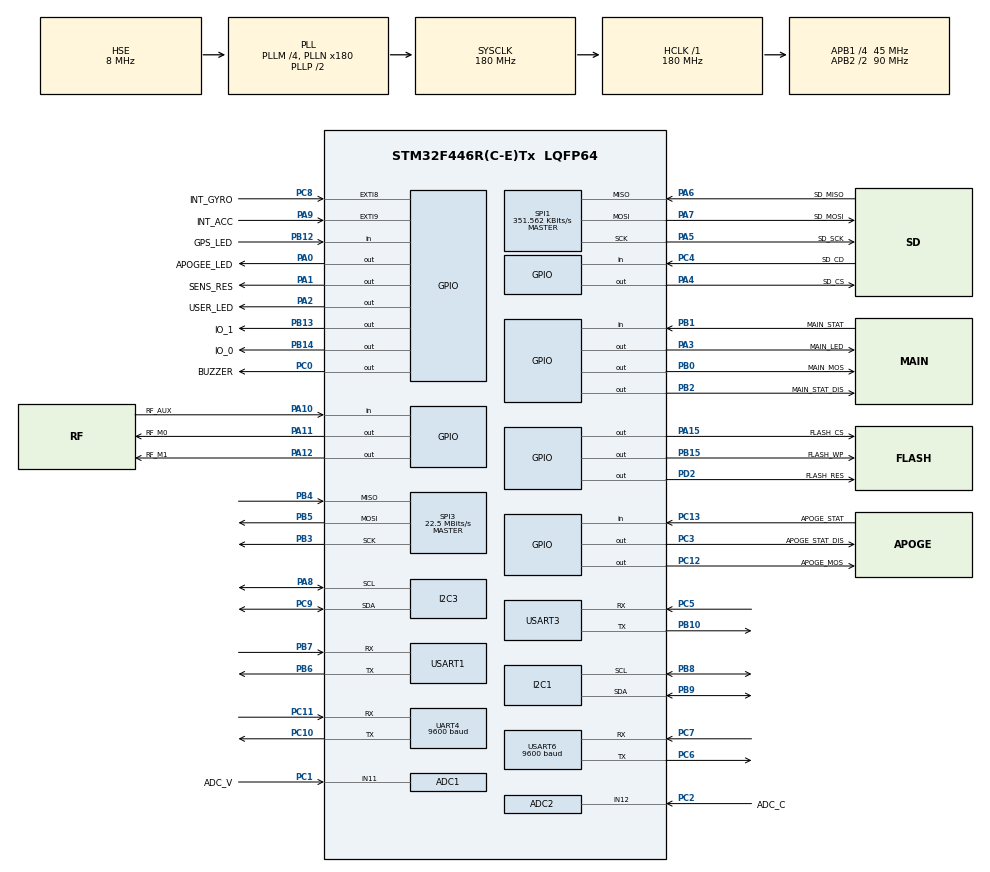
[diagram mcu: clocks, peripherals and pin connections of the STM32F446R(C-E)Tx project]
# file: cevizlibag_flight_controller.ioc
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ADC1.Channel-0\#ChannelRegularConversion=ADC_CHANNEL_11
ADC1.ClockPrescaler=ADC_CLOCK_SYNC_PCLK_DIV4
ADC1.NbrOfConversionFlag=1
ADC1.Rank-0\#ChannelRegularConversion=1
ADC1.SamplingTime-0\#ChannelRegularConversion=ADC_SAMPLETIME_3CYCLES
ADC1.master=1
ADC2.Channel-0\#ChannelRegularConversion=ADC_CHANNEL_12
ADC2.ClockPrescaler=ADC_CLOCK_SYNC_PCLK_DIV4
ADC2.NbrOfConversion=1
ADC2.NbrOfConversionFlag=1
ADC2.Rank-0\#ChannelRegularConversion=1
ADC2.SamplingTime-0\#ChannelRegularConversion=ADC_SAMPLETIME_3CYCLES
Dma.Request0=USART3_RX
Dma.Request1=USART6_RX
Dma.Request2=USART1_TX
Dma.Request3=USART3_TX
Dma.Request4=UART4_TX
Dma.UART4_TX.4.Direction=DMA_MEMORY_TO_PERIPH
Dma.UART4_TX.4.FIFOMode=DMA_FIFOMODE_DISABLE
Dma.UART4_TX.4.Instance=DMA1_Stream4
Dma.UART4_TX.4.MemDataAlignment=DMA_MDATAALIGN_BYTE
Dma.UART4_TX.4.MemInc=DMA_MINC_ENABLE
Dma.UART4_TX.4.Mode=DMA_NORMAL
Dma.UART4_TX.4.PeriphDataAlignment=DMA_PDATAALIGN_BYTE
Dma.UART4_TX.4.PeriphInc=DMA_PINC_DISABLE
Dma.UART4_TX.4.Priority=DMA_PRIORITY_LOW
Dma.USART1_TX.2.Direction=DMA_MEMORY_TO_PERIPH
Dma.USART1_TX.2.FIFOMode=DMA_FIFOMODE_DISABLE
Dma.USART1_TX.2.Instance=DMA2_Stream7
Dma.USART1_TX.2.MemDataAlignment=DMA_MDATAALIGN_BYTE
Dma.USART1_TX.2.MemInc=DMA_MINC_ENABLE
Dma.USART1_TX.2.Mode=DMA_NORMAL
Dma.USART1_TX.2.PeriphDataAlignment=DMA_PDATAALIGN_BYTE
Dma.USART1_TX.2.PeriphInc=DMA_PINC_DISABLE
Dma.USART1_TX.2.Priority=DMA_PRIORITY_LOW
Dma.USART3_RX.0.Direction=DMA_PERIPH_TO_MEMORY
Dma.USART3_RX.0.FIFOMode=DMA_FIFOMODE_DISABLE
Dma.USART3_RX.0.Instance=DMA1_Stream1
Dma.USART3_RX.0.MemDataAlignment=DMA_MDATAALIGN_BYTE
Dma.USART3_RX.0.MemInc=DMA_MINC_ENABLE
Dma.USART3_RX.0.Mode=DMA_NORMAL
Dma.USART3_RX.0.PeriphDataAlignment=DMA_PDATAALIGN_BYTE
Dma.USART3_RX.0.PeriphInc=DMA_PINC_DISABLE
Dma.USART3_RX.0.Priority=DMA_PRIORITY_LOW
Dma.USART3_TX.3.Direction=DMA_MEMORY_TO_PERIPH
Dma.USART3_TX.3.FIFOMode=DMA_FIFOMODE_DISABLE
Dma.USART3_TX.3.Instance=DMA1_Stream3
Dma.USART3_TX.3.MemDataAlignment=DMA_MDATAALIGN_BYTE
Dma.USART3_TX.3.MemInc=DMA_MINC_ENABLE
Dma.USART3_TX.3.Mode=DMA_NORMAL
Dma.USART3_TX.3.PeriphDataAlignment=DMA_PDATAALIGN_BYTE
Dma.USART3_TX.3.PeriphInc=DMA_PINC_DISABLE
Dma.USART3_TX.3.Priority=DMA_PRIORITY_LOW
Dma.USART6_RX.1.Direction=DMA_PERIPH_TO_MEMORY
Dma.USART6_RX.1.FIFOMode=DMA_FIFOMODE_DISABLE
Dma.USART6_RX.1.Instance=DMA2_Stream1
Dma.USART6_RX.1.MemDataAlignment=DMA_MDATAALIGN_BYTE
Dma.USART6_RX.1.MemInc=DMA_MINC_ENABLE
Dma.USART6_RX.1.Mode=DMA_NORMAL
Dma.USART6_RX.1.PeriphDataAlignment=DMA_PDATAALIGN_BYTE
Dma.USART6_RX.1.PeriphInc=DMA_PINC_DISABLE
Dma.USART6_RX.1.Priority=DMA_PRIORITY_LOW
Mcu.Family=STM32F4
Mcu.Name=STM32F446R(C-E)Tx
Mcu.Package=LQFP64
Mcu.UserConstants=TTL_HNDLR,huart1;RS232_HNDLR,huart3;SD_SPI_HNDLR,hspi1;FLASH_SPI_HNDLR,hspi3;TELEM_UART_HNDLR,huart4;GPS_UART_HNDLR,huart6;IMU_I2C_HNDLR,hi2c3;BAR_I2C_HNDLR,hi2c1;GYRO_IRQ,EXTI9_5_IRQn;ACC_IRQ,EXTI9_5_IRQn
NVIC.DMA1_Stream1_IRQn=true\:0\:0\:false\:false\:true\:false\:true\:true
NVIC.DMA1_Stream3_IRQn=true\:0\:0\:false\:false\:true\:false\:true\:true
NVIC.DMA1_Stream4_IRQn=true\:0\:0\:false\:false\:true\:false\:true\:true
NVIC.DMA2_Stream1_IRQn=true\:0\:0\:false\:false\:true\:false\:true\:true
NVIC.DMA2_Stream7_IRQn=true\:0\:0\:false\:false\:true\:false\:true\:true
NVIC.EXTI9_5_IRQn=true\:1\:0\:true\:false\:true\:true\:true\:true
NVIC.PriorityGroup=NVIC_PRIORITYGROUP_4
NVIC.TIM1_BRK_TIM9_IRQn=true\:2\:0\:true\:false\:true\:true\:true\:true
NVIC.TIM3_IRQn=true\:2\:0\:true\:false\:true\:true\:true\:true
NVIC.TIM4_IRQn=true\:2\:0\:true\:false\:true\:true\:true\:true
NVIC.TIM5_IRQn=true\:3\:0\:true\:false\:true\:true\:true\:true
NVIC.TIM6_DAC_IRQn=true\:4\:0\:true\:false\:true\:true\:true\:true
NVIC.TIM7_IRQn=true\:5\:0\:true\:false\:true\:true\:true\:true
NVIC.TIM8_UP_TIM13_IRQn=true\:8\:0\:true\:false\:true\:true\:true\:true
NVIC.UART4_IRQn=true\:9\:0\:true\:false\:true\:true\:true\:true
NVIC.USART1_IRQn=true\:0\:0\:false\:false\:true\:true\:true\:true
NVIC.USART3_IRQn=true\:0\:0\:true\:false\:true\:true\:true\:true
NVIC.USART6_IRQn=true\:2\:0\:true\:false\:true\:true\:true\:true
PA0-WKUP.GPIO_Label=APOGEE_LED
PA0-WKUP.PinState=GPIO_PIN_SET
PA0-WKUP.Signal=GPIO_Output
PA1.GPIO_Label=SENS_RES
PA1.Signal=GPIO_Output
PA10.GPIO_Label=RF_AUX
PA10.Signal=GPIO_Input
PA11.GPIO_Label=RF_M0
PA11.PinState=GPIO_PIN_SET
PA11.Signal=GPIO_Output
PA12.GPIO_Label=RF_M1
PA12.PinState=GPIO_PIN_SET
PA12.Signal=GPIO_Output
PA13.Mode=Serial_Wire
PA13.Signal=SYS_JTMS-SWDIO
PA14.Mode=Serial_Wire
PA14.Signal=SYS_JTCK-SWCLK
PA15.GPIO_Label=FLASH_CS
PA15.GPIO_Speed=GPIO_SPEED_FREQ_VERY_HIGH
PA15.PinState=GPIO_PIN_SET
PA15.Signal=GPIO_Output
PA2.GPIO_Label=USER_LED
PA2.Signal=GPIO_Output
PA3.GPIO_Label=MAIN_LED
PA3.PinState=GPIO_PIN_SET
PA3.Signal=GPIO_Output
PA4.GPIO_Label=SD_CS
PA4.GPIO_PuPd=GPIO_PULLUP
PA4.PinState=GPIO_PIN_SET
PA4.Signal=GPIO_Output
PA5.GPIO_Label=SD_SCK
PA5.GPIO_PuPd=GPIO_PULLUP
PA5.Mode=Full_Duplex_Master
PA5.Signal=SPI1_SCK
PA6.GPIO_Label=SD_MISO
PA6.GPIO_PuPd=GPIO_PULLUP
PA6.Mode=Full_Duplex_Master
PA6.Signal=SPI1_MISO
PA7.GPIO_Label=SD_MOSI
PA7.GPIO_PuPd=GPIO_PULLUP
PA7.Mode=Full_Duplex_Master
PA7.Signal=SPI1_MOSI
PA8.Mode=I2C
PA8.Signal=I2C3_SCL
PA9.GPIO_Label=INT_ACC
PA9.Signal=GPXTI9
PB0.GPIO_Label=MAIN_MOS
PB0.Signal=GPIO_Output
PB1.GPIO_Label=MAIN_STAT
PB1.Signal=GPIO_Input
PB10.Mode=Asynchronous
PB10.Signal=USART3_TX
PB12.GPIO_Label=GPS_LED
PB12.Signal=GPIO_Input
PB13.GPIO_Label=IO_1
PB13.Signal=GPIO_Output
PB14.GPIO_Label=IO_0
PB14.Signal=GPIO_Output
PB15.GPIO_Label=FLASH_WP
PB15.GPIO_PuPd=GPIO_NOPULL
PB15.PinState=GPIO_PIN_SET
PB15.Signal=GPIO_Output
PB2.GPIO_Label=MAIN_STAT_DIS
PB2.Signal=GPIO_Output
PB3.Mode=Full_Duplex_Master
PB3.Signal=SPI3_SCK
PB4.Mode=Full_Duplex_Master
PB4.Signal=SPI3_MISO
PB5.Mode=Full_Duplex_Master
PB5.Signal=SPI3_MOSI
PB6.Mode=Asynchronous
PB6.Signal=USART1_TX
PB7.Mode=Asynchronous
PB7.Signal=USART1_RX
PB8.Mode=I2C
PB8.Signal=I2C1_SCL
PB9.Mode=I2C
PB9.Signal=I2C1_SDA
PC0.GPIO_Label=BUZZER
PC0.Signal=GPIO_Output
PC1.GPIO_Label=ADC_V
PC1.Signal=ADCx_IN11
PC10.Mode=Asynchronous
PC10.Signal=UART4_TX
PC11.Mode=Asynchronous
PC11.Signal=UART4_RX
PC12.GPIO_Label=APOGE_MOS
PC12.Signal=GPIO_Output
PC13.GPIO_Label=APOGE_STAT
PC13.Signal=GPIO_Input
PC14-OSC32_IN.Mode=LSE-External-Oscillator
PC14-OSC32_IN.Signal=RCC_OSC32_IN
PC15-OSC32_OUT.Mode=LSE-External-Oscillator
PC15-OSC32_OUT.Signal=RCC_OSC32_OUT
PC2.GPIO_Label=ADC_C
PC2.Signal=ADCx_IN12
PC3.GPIO_Label=APOGE_STAT_DIS
PC3.Signal=GPIO_Output
PC4.GPIO_Label=SD_CD
PC4.Signal=GPIO_Input
PC5.Mode=Asynchronous
PC5.Signal=USART3_RX
PC6.Mode=Asynchronous
PC6.Signal=USART6_TX
PC7.Mode=Asynchronous
PC7.Signal=USART6_RX
PC8.GPIO_Label=INT_GYRO
PC8.Signal=GPXTI8
PC9.Mode=I2C
PC9.Signal=I2C3_SDA
PD2.GPIO_Label=FLASH_RES
PD2.GPIO_PuPd=GPIO_PULLUP
PD2.PinState=GPIO_PIN_SET
PD2.Signal=GPIO_Output
PH0-OSC_IN.Mode=HSE-External-Oscillator
PH0-OSC_IN.Signal=RCC_OSC_IN
PH1-OSC_OUT.Mode=HSE-External-Oscillator
PH1-OSC_OUT.Signal=RCC_OSC_OUT
ProjectManager.HeapSize=0x200
ProjectManager.StackSize=0x400
ProjectManager.TargetToolchain=STM32CubeIDE
RCC.AHBFreq_Value=180000000
RCC.APB1CLKDivider=RCC_HCLK_DIV4
RCC.APB1Freq_Value=45000000
RCC.APB1TimFreq_Value=90000000
RCC.APB2CLKDivider=RCC_HCLK_DIV2
RCC.APB2Freq_Value=90000000
RCC.APB2TimFreq_Value=180000000
RCC.CortexFreq_Value=180000000
RCC.HCLKFreq_Value=180000000
RCC.HSE_VALUE=8000000
RCC.PLLM=4
RCC.PLLN=180
RCC.PLLSourceVirtual=RCC_PLLSOURCE_HSE
RCC.RCC_RTC_Clock_SourceVirtual=RCC_RTCCLKSOURCE_LSE
RCC.SYSCLKFreq_VALUE=180000000
RCC.SYSCLKSource=RCC_SYSCLKSOURCE_PLLCLK
RCC.USBFreq_Value=180000000
RCC.VCOOutputFreq_Value=360000000
SH.ADCx_IN11.0=ADC1_IN11,IN11
SH.ADCx_IN12.0=ADC2_IN12,IN12
SPI1.BaudRatePrescaler=SPI_BAUDRATEPRESCALER_256
SPI1.CalculateBaudRate=351.562 KBits/s
SPI1.Direction=SPI_DIRECTION_2LINES
SPI1.Mode=SPI_MODE_MASTER
SPI1.VirtualType=VM_MASTER
SPI3.BaudRatePrescaler=SPI_BAUDRATEPRESCALER_2
SPI3.CLKPhase=SPI_PHASE_1EDGE
SPI3.CLKPolarity=SPI_POLARITY_LOW
SPI3.CalculateBaudRate=22.5 MBits/s
SPI3.Direction=SPI_DIRECTION_2LINES
SPI3.Mode=SPI_MODE_MASTER
SPI3.VirtualType=VM_MASTER
TIM3.Period=9999
TIM3.Prescaler=8999
TIM4.Period=999
TIM4.Prescaler=8999
TIM5.Period=99
TIM5.Prescaler=8999
TIM6.Period=9
TIM6.Prescaler=8999
TIM7.Period=99
TIM7.Prescaler=8999
TIM8.Period=1999
TIM8.Prescaler=17999
TIM9.AutoReloadPreload=TIM_AUTORELOAD_PRELOAD_ENABLE
TIM9.Period=9999
TIM9.Prescaler=17999
UART4.BaudRate=9600
UART4.VirtualMode=Asynchronous
USART1.VirtualMode=VM_ASYNC
USART3.VirtualMode=VM_ASYNC
USART6.BaudRate=9600
USART6.VirtualMode=VM_ASYNC
VP_RTC_VS_RTC_Activate.Mode=RTC_Enabled
VP_TIM3_VS_ClockSourceINT.Mode=Internal
VP_TIM4_VS_ClockSourceINT.Mode=Internal
VP_TIM5_VS_ClockSourceINT.Mode=Internal
VP_TIM6_VS_ClockSourceINT.Mode=Enable_Timer
VP_TIM7_VS_ClockSourceINT.Mode=Enable_Timer
VP_TIM8_VS_ClockSourceINT.Mode=Internal
VP_TIM9_VS_ClockSourceINT.Mode=Internal
board=custom

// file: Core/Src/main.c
/* USER CODE BEGIN Header */
/**
  ******************************************************************************
  * @file           : main.c
  * @brief          : Main program body
  ******************************************************************************
  * @attention
  *
  * Copyright (c) 2025 STMicroelectronics.
  * All rights reserved.
  *
  * This software is licensed under terms that can be found in the LICENSE file
  * in the root directory of this software component.
  * If no LICENSE file comes with this software, it is provided AS-IS.
  *
  ******************************************************************************
  */
/* USER CODE END Header */
#include "main.h"
#include "adc.h"
#include "dma.h"
#include "i2c.h"
#include "rtc.h"
#include "spi.h"
#include "tim.h"
#include "usart.h"
#include "gpio.h"

/* USER CODE BEGIN Includes */
#include "bme280.h"
#include "bmi088.h"
#include "ukb_test.h"
#include "algorithms.h"
#include "queternion.h"
#include "dataPacking.h"
#include "usr_gnss_l86_parser.h"
#include "e22_lib.h"
#include "dwt_profiler.h"
#include "data_logger.h"
#include "w25qxx.h"
#include "filters.h"
#include "z_flash_W25QXXX.h"
/* USER CODE END Includes */

/* USER CODE BEGIN PTD */
typedef struct bckp_sram_datas
{
	bme_parameters_t	bme_params;
	bmi088_offsets_t	bmi_offsets;
	float q[4];
	uint32_t logger_counter;
}bckp_sram_datas_t;

/* USER CODE END PTD */

/* USER CODE BEGIN PV */
bckp_sram_datas_t* const backup_datas = (bckp_sram_datas_t*) BKPSRAM_BASE;
static bme280_struct_t 	bme_sensor_s;
static bmi088_struct_t	bmi_imu_s;
static e22_conf_struct_t lora_1;
static flight_states_e rocket_status;

working_mode_e working_mode = MODE_NORMAL;
power_t power_s;
UKB_test_t test_datas;
flight_data_t rocket_flight_datas;
S_GPS_L86_DATA gps_s;
BaroAccelFilter filter_1;

extern float euler[3];
extern uint8_t dma_rx_buf[RX_BUFFER_LEN + 10];
extern uint8_t *gps_buf;
uint8_t datas_packed[36];

uint32_t main_mos_counter = 0;
uint32_t apoge_mos_counter = 0;
uint32_t last_vel_measure_time = 0;

uint8_t *packed_datas_p;
uint8_t str[200];
uint8_t is_1000ms = 0;
uint8_t is_200ms = 0;
uint8_t is_100ms = 0;
uint8_t is_10ms = 0;
uint8_t is_1ms = 0;
uint8_t is_telem_timer_ok = 0;
uint8_t is_power_1s = 0;
uint8_t last_mode = MODE_NORMAL;
uint8_t is_dma_idle = 0;
uint8_t	is_new_test_data = 0;
uint8_t is_zeroed = 0;
uint8_t beep_counter = 0;

int counter = 0;

/* USER CODE END PV */

void SystemClock_Config(void);
/* USER CODE BEGIN PFP */
uint8_t bme280_begin(void);
uint8_t bmi088_begin(void);
void bmi_callback(bmi088_struct_t *BMI);
void lora_init(void);
void calc_power(power_t* pow);
void reset_fligth_datas();
/* USER CODE END PFP */

int main(void)
{

  /* MCU Configuration--------------------------------------------------------*/

  /* Reset of all peripherals, Initializes the Flash interface and the Systick. */
  HAL_Init();

  /* Configure the system clock */
  SystemClock_Config();

  /* Initialize all configured peripherals */
  MX_GPIO_Init();
  MX_DMA_Init();
  MX_I2C1_Init();
  MX_I2C3_Init();
  MX_SPI1_Init();
  MX_SPI3_Init();
  MX_UART4_Init();
  MX_USART1_UART_Init();
  MX_USART3_UART_Init();
  MX_USART6_UART_Init();
  MX_RTC_Init();
  MX_TIM3_Init();
  MX_TIM4_Init();
  MX_TIM5_Init();
  MX_TIM6_Init();
  MX_TIM9_Init();
  MX_ADC1_Init();
  MX_ADC2_Init();
  MX_TIM7_Init();
  MX_TIM8_Init();
  /* USER CODE BEGIN 2 */

#ifdef CALC_TIME
  dwt_profiler_init();
#endif

  HAL_PWR_EnableBkUpAccess();
  RCC->AHB1ENR |= RCC_AHB1ENR_BKPSRAMEN;
  HAL_PWR_EnableBkUpReg();

  HAL_GPIO_WritePin(SENS_RES_GPIO_Port, SENS_RES_Pin, GPIO_PIN_SET);
  HAL_Delay(50);
  HAL_GPIO_WritePin(SENS_RES_GPIO_Port, SENS_RES_Pin, GPIO_PIN_RESET);
  HAL_Delay(50);

  for(int i = 0; i < 16; i++)
  {
	  HAL_GPIO_TogglePin(BUZZER_GPIO_Port, BUZZER_Pin);
	  HAL_Delay(50);
  }

  uint8_t bme_ret = bme280_begin();
  if(bme_ret)
  {
	  serial_println("bme sensor fail", &TTL_HNDLR);
  }
  else
  {
	  //serial_println("bme sensor success", &TTL_HNDLR);
  }

  bme280_config(&bme_sensor_s);

  uint8_t bmi_ret = bmi088_begin();
  if(bmi_ret)
  {
	  serial_println("bmi fail", &TTL_HNDLR);
      if((bmi_ret & 0x01) == 0x01)
      {
        sprintf((char*)str, "error in accel");
        serial_println((char*) str, &TTL_HNDLR);
      }
      if((bmi_ret & 0x02) == 0x02)
      {
        sprintf((char*)str, "error in gyro");
        serial_println((char*) str, &TTL_HNDLR);
      }
  }
  else
  {
	  //serial_println("bmi success", &TTL_HNDLR);
  }

    bmi088_config(&bmi_imu_s);
    get_offset(&bmi_imu_s);

    ukb_test_init(&test_datas);
    quaternon_init(backup_datas->q);
    bmi088_update(&bmi_imu_s);
    getInitialQuaternion(bmi_imu_s.datas.acc_x, bmi_imu_s.datas.acc_y, bmi_imu_s.datas.acc_z);

    // GNSS config baud rate 57600 with PMTK command.
    serial_println("$PMTK251,57600*2C", &GPS_UART_HNDLR);	// GNSS baud set 57600
    HAL_UART_DeInit(&GPS_UART_HNDLR);
    GPS_UART_HNDLR.Init.BaudRate = 57600;
    HAL_UART_Init(&GPS_UART_HNDLR);
    UsrGpsL86Init(&GPS_UART_HNDLR);
    //VIEW_GPS()											// Read and write to TTL raw GNSS raw value.

    // Filter config.
    //baf_init(&filter_1, -bmi_imu_s.datas.acc_y, 0.3, 0.1, (float)bme_sensor_s.datas.time_of_update);
    baf_init(&filter_1, -bmi_imu_s.datas.acc_y, 0.3, 0.2, (float)HAL_GetTick()-1);

    // Lora module config.
    lora_init();
    data_logger_init();

#ifdef ERASE_FLASH_CHIP
    serial_println("silmeye baslandi", &TTL_HNDLR);
    //W25qxx_EraseChip();
    Flash_ChipErase();
    serial_println("chip silindi", &TTL_HNDLR);

#endif

    // Config phase finished beep.
    beep(1000);

    // Start timer interrupts.
    HAL_TIM_Base_Start_IT(&htim3);
    HAL_TIM_Base_Start_IT(&htim4);
    HAL_TIM_Base_Start_IT(&htim5);
    HAL_TIM_Base_Start_IT(&htim6);
    HAL_TIM_Base_Start_IT(&htim7);
    HAL_TIM_Base_Start_IT(&htim9);
    HAL_TIM_Base_Start_IT(&htim8);

    // Start receiving DMA form RS232 UART.
    __HAL_UART_ENABLE_IT(&RS232_HNDLR, UART_IT_IDLE);
    HAL_UART_Receive_DMA(&RS232_HNDLR, dma_rx_buf, RX_BUFFER_LEN + 6);
    //TIM9->ARR = 10000;
  /* USER CODE END 2 */

  /* Infinite loop */
  while (1)
  {

    /* USER CODE BEGIN 3 */
#ifdef CALC_TIME
	  PROFILE_START(PROF_MAIN_LOOP);
#endif

	  if(get_test_mode() != last_mode)
	  {
		  working_mode = get_test_mode();
		  last_mode = get_test_mode();
		  reset_algorithm_status(&rocket_flight_datas);
		  rocket_status = STAT_ROCKET_READY;
		  reset_test_datas();
		  reset_fligth_datas();
		  switch(working_mode)
		  {
		  case MODE_NORMAL:
			  baf_init(&filter_1, -bmi_imu_s.datas.acc_y, 0.3, 0.2, (float)HAL_GetTick() - 1);
			  break;
		  case MODE_SUT_TEST:
			  baf_init(&filter_1, 0, 0.3, 0.2, (float)HAL_GetTick() - 1);
			  break;
		  case MODE_SIT_TEST:
			  break;
		  }
		  //sprintf((char*)str,"mode = %d", working_mode);
		  //serial_println((char*)str, &TTL_HNDLR);
	  }

	  if(is_1000ms)	// This condition works at 1Hz.
	  {
		  Usr_GpsL86GetValues(&gps_s, &GPS_UART_HNDLR);
		  is_power_1s = 1;
		  is_1000ms = 0;
	  }
	  if(is_200ms)
	  {
		  if(working_mode == MODE_NORMAL)
		  {

		  }

		  is_200ms = 0;
	  }
	  if(is_100ms)	// This condition works at 5Hz.
	  {
		  //sprintf((char*)str,"h=%f \t v=%f \t time=%f \t abia=%f \t beta=%f \t alpha=%f", filter_1.h, filter_1.v, filter_1.dt, filter_1.abias, filter_1.beta, filter_1.alpha);
		  ///printf((char*)str,"h=%f \t v=%f \t time=%f \t abia=%f",  rocket_flight_datas.altitude ,  rocket_flight_datas.velocity, filter_1.dt, filter_1.abias);
		  //sprintf((char*)str, "accel_x=%f \t accel_y=%f \t accelz=%f", bmi_imu_s.datas.acc_x, bmi_imu_s.datas.acc_y, bmi_imu_s.datas.acc_z);
		  //serial_println((char*)str, &TTL_HNDLR);

		  switch(get_test_mode())
		  {

		  case MODE_NORMAL:
			  rocket_flight_datas.velocity		= bme_sensor_s.datas.velocity;
			  rocket_flight_datas.alt_sea_level = bme_sensor_s.datas.height;
			  rocket_flight_datas.altitude 		= bme_sensor_s.datas.altitude;
			  rocket_flight_datas.accel_x 		= bmi_imu_s.datas.acc_x / 1000;
			  rocket_flight_datas.accel_y 		= bmi_imu_s.datas.acc_z / 1000;
			  rocket_flight_datas.accel_z 		= -bmi_imu_s.datas.acc_y / 1000;
			  rocket_flight_datas.angle_x 		= euler[0];
			  rocket_flight_datas.angle_y 		= euler[1];
			  rocket_flight_datas.angle_z 		= euler[2];
			  rocket_flight_datas.abs_angle			= quaternionToTheta();
			  rocket_flight_datas.data_taken_time 	= bme_sensor_s.datas.time_of_update;

			  baf_step(&filter_1, rocket_flight_datas.altitude, rocket_flight_datas.accel_z * 1000, rocket_flight_datas.data_taken_time);
			  rocket_flight_datas.altitude = filter_1.h;
			  rocket_flight_datas.velocity = filter_1.v;
			  bme_sensor_s.datas.velocity = filter_1.v;
			  rocket_flight_datas.is_new_data = 1;
#ifdef CALC_TIME
			  PROFILE_START(PROF_PACKET_SEND);
#endif
			  packed_datas_p = packDatas(&bmi_imu_s, &bme_sensor_s, &gps_s, &power_s, rocket_status, &rocket_flight_datas);
			  //send_datas(&TTL_HNDLR, packed_datas_p, 64);	// Sends the packets via uart bridge to GCS.
			  //log_datas(gps_s.altitudeInMeter, gps_s.lat, gps_s.lon, gps_s.timeDateBuf, bme_sensor_s.datas.altitude, bme_sensor_s.datas.temperature, bme_sensor_s.datas.humidity);
			  //send_datas(&RS232_HNDLR, packed_datas_p, 64);
			  if(rocket_status > STAT_ROCKET_READY && rocket_status < STAT_TOUCH_DOWN && backup_datas->logger_counter < 130000)
			  {
				  log_datas(backup_datas->logger_counter++, HAL_GetTick(), filter_1.h, bme_sensor_s.datas.altitude, filter_1.v, bme_sensor_s.datas.pressure, bme_sensor_s.datas.temperature,
				      			  bme_sensor_s.datas.humidity, bmi_imu_s.datas.acc_x, bmi_imu_s.datas.acc_y, bmi_imu_s.datas.acc_z,
				      			  bmi_imu_s.datas.gyro_x, bmi_imu_s.datas.gyro_y, bmi_imu_s.datas.gyro_z, euler[0], euler[1], euler[2],
				      			  backup_datas->q[0], backup_datas->q[1], backup_datas->q[2], backup_datas->q[3], gps_s.lat, gps_s.lon,
				      			  gps_s.altitudeInMeter, gps_s.timeDateBuf, rocket_status, power_s.voltage, power_s.wattage_calced, gps_s.satInUse);
			  }
#ifdef CALC_TIME
			  PROFILE_END(PROF_PACKET_SEND);
#endif
			  break;

		  case MODE_SIT_TEST:
			  test_datas.altitude	= rocket_flight_datas.alt_sea_level;
			  test_datas.pressure 	= bme_sensor_s.datas.pressure;
			  test_datas.accel_x 	= rocket_flight_datas.accel_x * TO_SI;
			  test_datas.accel_y 	= rocket_flight_datas.accel_z * TO_SI;
			  test_datas.accel_z 	= rocket_flight_datas.accel_y * TO_SI;
			  test_datas.angle_x 	= rocket_flight_datas.angle_x;	//bmi_imu_s.datas.gyro_x_angle;
			  test_datas.angle_y 	= rocket_flight_datas.angle_y;
			  test_datas.angle_z 	= rocket_flight_datas.angle_z; //bmi_imu_s.datas.gyro_z_angle;

			  pack_datas_for_test(datas_packed, &test_datas);
			  HAL_UART_Transmit_DMA(&RS232_HNDLR, datas_packed, 36);
			  HAL_UART_Transmit_DMA(&TTL_HNDLR, datas_packed, 36);
			  break;

		  case MODE_SUT_TEST:

			  break;

		  }
		  is_100ms = 0;
	  }

	  if(is_dma_idle)	// sut test
	  {
		  process_received_datas(dma_rx_buf);
		  HAL_UART_Receive_DMA(&RS232_HNDLR, dma_rx_buf, RX_BUFFER_LEN + 6);

		  if(working_mode == MODE_SUT_TEST)
		  {
			  //rocket_flight_datas.altitude			= test_datas.altitude;
			  rocket_flight_datas.accel_x 			= test_datas.accel_x;
			  rocket_flight_datas.accel_y 			= test_datas.accel_y;
			  rocket_flight_datas.accel_z 			= test_datas.accel_z;
			  rocket_flight_datas.angle_x 			= test_datas.angle_x;
			  rocket_flight_datas.angle_y 			= test_datas.angle_y;
			  rocket_flight_datas.angle_z 			= test_datas.angle_z;
			  rocket_flight_datas.data_taken_time 	= test_datas.data_taken_time;
			  //sprintf((char*)str,">velocity:%f", rocket_flight_datas.velocity);
			  //serial_println((char*)str, &TTL_HNDLR);
			  //sprintf((char*)str,"test:alt = %f, acx=%f  acy=%f  acz=%f angx=%f angy=%f angz=%f", test_datas.altitude, rocket_flight_datas.accel_x,  rocket_flight_datas.accel_y , rocket_flight_datas.accel_z, test_datas.angle_x, test_datas.angle_y, test_datas.angle_z);
			  //serial_println((char*)str, &TTL_HNDLR);

			  baf_step(&filter_1, test_datas.altitude, test_datas.accel_z,  test_datas.data_taken_time);
			  rocket_flight_datas.altitude = filter_1.h;
			  rocket_flight_datas.velocity = filter_1.v;

			  sprintf((char*)str,"%f,%f,%f,%f,\n\r", filter_1.h, filter_1.v, test_datas.altitude, test_datas.accel_z/1000);
			  //sprintf((char*)str,"%f,%f,%f,%f,%f,%f,%f\n\r", test_datas.accel_x, test_datas.accel_y, test_datas.accel_z, test_datas.angle_x, test_datas.angle_y, test_datas.angle_z, test_datas.altitude);
			  //serial_println((char*)str, &TTL_HNDLR);

			  ukb_test_stat_update(rocket_status );
			  rocket_flight_datas.is_new_data = 1;
		  }
		  is_dma_idle = 0;
	  }

	  if(is_10ms)// This condition works at 100Hz.
	  {
#ifdef CALC_TIME
		  PROFILE_START(PROF_BME280_UPDATE);
#endif

		  bme280_update(&bme_sensor_s);	// 100Hz call is enough for baro sensor.

#ifdef CALC_TIME
		  PROFILE_END(PROF_BME280_UPDATE);
#endif

		  if(working_mode == MODE_SIT_TEST)
		  {
			  rocket_flight_datas.velocity		= bme_sensor_s.datas.velocity;
			  rocket_flight_datas.alt_sea_level = bme_sensor_s.datas.height;
			  rocket_flight_datas.altitude 		= bme_sensor_s.datas.altitude;
			  rocket_flight_datas.accel_x 		= bmi_imu_s.datas.acc_x;
			  rocket_flight_datas.accel_y 		= bmi_imu_s.datas.acc_y;
			  rocket_flight_datas.accel_z 		= bmi_imu_s.datas.acc_z;
			  rocket_flight_datas.angle_x 		= euler[0];
			  rocket_flight_datas.angle_y 		= euler[1];
			  rocket_flight_datas.angle_z 		= euler[2];
		  }
		  is_10ms = 0;
	  }
	  if(is_1ms)	// This condition works at 1kHz.
	  {
		  if(rocket_status > STAT_ROCKET_READY && rocket_status < STAT_P1_OK_P2_NO)
		  {
			  TIM9->ARR = 2499;
		  }

		  calc_power(&power_s);
		  if(working_mode == MODE_NORMAL || working_mode == MODE_SUT_TEST)
		  {
			  rocket_status = algorithm_update(&rocket_flight_datas, working_mode);
		  }
		  is_1ms = 0;
	  }
	  if(is_telem_timer_ok)
	  {
		if(power_s.voltage > LOW_BAT)
		{
		  e22_chMode_transmit(&lora_1);
		  send_datas(&TELEM_UART_HNDLR, packed_datas_p, 64);
		}
		else
		{
		  e22_chMode_sleep(&lora_1);
		}
		is_telem_timer_ok = 0;
	  }
#ifdef CALC_TIME
	  PROFILE_START(PROF_BMI088_UPDATE);
#endif

	  bmi088_update(&bmi_imu_s);	// IMU sensor uses interrupts so it can be called always.

#ifdef CALC_TIME
	  PROFILE_END(PROF_BMI088_UPDATE);
#endif

#ifdef CALC_TIME
	  PROFILE_END(PROF_MAIN_LOOP);
#endif

#ifdef CALC_TIME
	  //dwt_profiler_print_results();
	  dwt_profiler_print_compact();
#endif
	 }
  /* USER CODE END 3 */
}

void SystemClock_Config(void)
{
  RCC_OscInitTypeDef RCC_OscInitStruct = {0};
  RCC_ClkInitTypeDef RCC_ClkInitStruct = {0};

  /** Configure the main internal regulator output voltage
  */
  __HAL_RCC_PWR_CLK_ENABLE();
  __HAL_PWR_VOLTAGESCALING_CONFIG(PWR_REGULATOR_VOLTAGE_SCALE1);

  /** Initializes the RCC Oscillators according to the specified parameters
  * in the RCC_OscInitTypeDef structure.
  */
  RCC_OscInitStruct.OscillatorType = RCC_OSCILLATORTYPE_HSE|RCC_OSCILLATORTYPE_LSE;
  RCC_OscInitStruct.HSEState = RCC_HSE_ON;
  RCC_OscInitStruct.LSEState = RCC_LSE_ON;
  RCC_OscInitStruct.PLL.PLLState = RCC_PLL_ON;
  RCC_OscInitStruct.PLL.PLLSource = RCC_PLLSOURCE_HSE;
  RCC_OscInitStruct.PLL.PLLM = 4;
  RCC_OscInitStruct.PLL.PLLN = 180;
  RCC_OscInitStruct.PLL.PLLP = RCC_PLLP_DIV2;
  RCC_OscInitStruct.PLL.PLLQ = 2;
  RCC_OscInitStruct.PLL.PLLR = 2;
  if (HAL_RCC_OscConfig(&RCC_OscInitStruct) != HAL_OK)
  {
    Error_Handler();
  }

  /** Activate the Over-Drive mode
  */
  if (HAL_PWREx_EnableOverDrive() != HAL_OK)
  {
    Error_Handler();
  }

  /** Initializes the CPU, AHB and APB buses clocks
  */
  RCC_ClkInitStruct.ClockType = RCC_CLOCKTYPE_HCLK|RCC_CLOCKTYPE_SYSCLK
                              |RCC_CLOCKTYPE_PCLK1|RCC_CLOCKTYPE_PCLK2;
  RCC_ClkInitStruct.SYSCLKSource = RCC_SYSCLKSOURCE_PLLCLK;
  RCC_ClkInitStruct.AHBCLKDivider = RCC_SYSCLK_DIV1;
  RCC_ClkInitStruct.APB1CLKDivider = RCC_HCLK_DIV4;
  RCC_ClkInitStruct.APB2CLKDivider = RCC_HCLK_DIV2;

  if (HAL_RCC_ClockConfig(&RCC_ClkInitStruct, FLASH_LATENCY_5) != HAL_OK)
  {
    Error_Handler();
  }
}

/* USER CODE BEGIN 4 */
void lora_init(void)
{
	lora_1.baud_rate 		= 	E22_BAUD_RATE_115200;
	lora_1.parity_bit		=	E22_PARITY_8N1;
	lora_1.air_rate			=	E22_AIR_DATA_RATE_38400;
	lora_1.packet_size		=	E22_PACKET_SIZE_64;
	lora_1.rssi_noise		=	E22_RSSI_NOISE_DISABLE;
	lora_1.power			=	E22_TRANSMITTING_POWER_22;
	lora_1.rssi_enable		=	E22_ENABLE_RSSI_DISABLE;
	lora_1.mode				= 	E22_TRANSMISSION_MODE_TRANSPARENT;
	lora_1.repeater_func	=	E22_REPEATER_FUNC_DISABLE;
	lora_1.lbt				=	E22_LBT_DISABLE;
	lora_1.wor				=	E22_WOR_RECEIVER;
	lora_1.wor_cycle		=	E22_WOR_CYCLE_1000;
	lora_1.channel			=	ROCKET_TELEM_FREQ;

	lora_1.pins.m0_pin = RF_M0_Pin;
	lora_1.pins.m0_pin_port = RF_M0_GPIO_Port;
	lora_1.pins.m1_pin = RF_M1_Pin;
	lora_1.pins.m1_pin_port = RF_M1_GPIO_Port;

	e22_init(&lora_1, &TELEM_UART_HNDLR);

	HAL_UART_DeInit(&TELEM_UART_HNDLR);
	TELEM_UART_HNDLR.Init.BaudRate = 115200;
	HAL_UART_Init(&TELEM_UART_HNDLR);
}

uint8_t bme280_begin()
{
	bme_sensor_s.device_config.filter = BME280_FILTER_OFF;
	bme_sensor_s.device_config.mode = BME280_MODE_NORMAL;
	bme_sensor_s.device_config.over_sampling = BME280_OS_8;
	bme_sensor_s.device_config.period = BME280_PERIOD_05;
	bme_sensor_s.device_config.BME_I2C = &BAR_I2C_HNDLR;
	bme_sensor_s.parameters = &backup_datas->bme_params; //if no backup data, write NULL
	return bme280_init(&bme_sensor_s);
}

void bmi_callback(bmi088_struct_t *BMI)
{

	if(is_zeroed == 1)
	{
		updateQuaternion(-BMI->datas.gyro_z * M_PI / 180.0, BMI->datas.gyro_x * M_PI / 180.0, -BMI->datas.gyro_y * M_PI / 180.0, BMI->datas.delta_time);
	}
	else
	{
		MahonyAHRSupdateIMU(-BMI->datas.gyro_z * M_PI / 180.0, BMI->datas.gyro_x * M_PI / 180.0, -BMI->datas.gyro_y * M_PI / 180.0, -BMI->datas.acc_z * TO_SI, BMI->datas.acc_x * TO_SI, -BMI->datas.acc_y * TO_SI, BMI->datas.delta_time);
		if(rocket_status > STAT_ROCKET_READY)
		{
			is_zeroed = 1;
			quaternionSet_zero();
		}
	}
		quaternionToEuler();
}

uint8_t bmi088_begin(void)
{
	//Acc config
	bmi_imu_s.device_config.acc_bandwith = ACC_BWP_OSR4;
	bmi_imu_s.device_config.acc_outputDateRate = ACC_ODR_200;
	bmi_imu_s.device_config.acc_powerMode = ACC_PWR_SAVE_ACTIVE;
	bmi_imu_s.device_config.acc_range = ACC_RANGE_24G;

	// Gyro config
	bmi_imu_s.device_config.gyro_bandWidth = GYRO_BW_116;
	bmi_imu_s.device_config.gyro_range = GYRO_RANGE_2000;
	bmi_imu_s.device_config.gyro_powerMode = GYRO_LPM_NORMAL;

	//Device config
	bmi_imu_s.device_config.acc_IRQ = ACC_IRQ;
	bmi_imu_s.device_config.gyro_IRQ = GYRO_IRQ;
	bmi_imu_s.device_config.BMI_I2c = &IMU_I2C_HNDLR;
	bmi_imu_s.device_config.offsets = &backup_datas->bmi_offsets;	//Offset datas stored in backup sram for saving them unwanted reset.
	bmi_imu_s.IMU_callback = bmi_callback;
	return	bmi088_init(&bmi_imu_s);
}

void serial_println(char* str, UART_HandleTypeDef *huart_disp)
{
	HAL_UART_Transmit_DMA(huart_disp, (uint8_t*)str, strlen(str));
	HAL_UART_Transmit_DMA(huart_disp, (uint8_t*)"\r\n", 2);
}

void HAL_GPIO_EXTI_Callback(uint16_t GPIO_Pin)
{
	if(GPIO_Pin == INT_ACC_Pin)
	{
		bmi088_set_accel_INT(&bmi_imu_s);
	}
	if(GPIO_Pin == INT_GYRO_Pin)
	{
		bmi088_set_gyro_INT(&bmi_imu_s);
	}
}

void HAL_TIM_PeriodElapsedCallback(TIM_HandleTypeDef *htim)
{
    if (htim->Instance == TIM3)	// This repeats in every 1000ms
    {
		is_1000ms = 1;
    }

    if (htim->Instance == TIM8)	// This repeats in every 200ms
	{
    	is_200ms = 1;
	}

    if (htim->Instance == TIM4)	// This repeats in every 100ms
    {
    	is_100ms = 1;
    }

    if(htim->Instance == TIM5)	// This repeats in every 10ms
    {
		is_10ms = 1;
    }

    if(htim->Instance == TIM6)	// This repeats in every 1ms
    {
    	is_1ms = 1;
    }

    if(htim->Instance == TIM9)	// This timer's frequency is changed by software for some purposes. Default 1Hz.
    {
    	is_telem_timer_ok = 1;
    }

	if(htim->Instance == TIM7)	// This block is for external pins lie buzzers leds. period = 10ms interrupt.
	{
		if(!(--main_mos_counter))
		{
			HAL_GPIO_WritePin(MAIN_MOS_GPIO_Port, MAIN_MOS_Pin, GPIO_PIN_RESET);
			HAL_GPIO_WritePin(BUZZER_GPIO_Port, BUZZER_Pin, GPIO_PIN_RESET);
			HAL_GPIO_WritePin(MAIN_LED_GPIO_Port, MAIN_LED_Pin, GPIO_PIN_SET);
		}
		if(!(--apoge_mos_counter))
		{
			HAL_GPIO_WritePin(APOGE_MOS_GPIO_Port, APOGE_MOS_Pin, GPIO_PIN_RESET);
			HAL_GPIO_WritePin(BUZZER_GPIO_Port, BUZZER_Pin, GPIO_PIN_RESET);
			HAL_GPIO_WritePin(APOGEE_LED_GPIO_Port, APOGEE_LED_Pin, GPIO_PIN_SET);
		}
		if(!(--beep_counter))
		{
			HAL_GPIO_WritePin(BUZZER_GPIO_Port, BUZZER_Pin, GPIO_PIN_RESET);
		}
	}
}

void main_deploy(int time_ms)
{
	HAL_GPIO_WritePin(MAIN_MOS_GPIO_Port, MAIN_MOS_Pin, GPIO_PIN_SET);
	HAL_GPIO_WritePin(BUZZER_GPIO_Port, BUZZER_Pin, GPIO_PIN_SET);
	HAL_GPIO_WritePin(MAIN_LED_GPIO_Port, MAIN_LED_Pin, GPIO_PIN_RESET);
	main_mos_counter = time_ms / 10;

}
void apoge_deploy(int time_ms)
{
	HAL_GPIO_WritePin(APOGE_MOS_GPIO_Port, APOGE_MOS_Pin, GPIO_PIN_SET);
	HAL_GPIO_WritePin(BUZZER_GPIO_Port, BUZZER_Pin, GPIO_PIN_SET);
	HAL_GPIO_WritePin(APOGEE_LED_GPIO_Port, APOGEE_LED_Pin, GPIO_PIN_RESET);
	apoge_mos_counter = time_ms / 10;
}
void beep(int time_ms)
{
	HAL_GPIO_WritePin(BUZZER_GPIO_Port, BUZZER_Pin, GPIO_PIN_SET);
	beep_counter = time_ms / 10;
}

void calc_power(power_t* pow)
{
	if(is_power_1s == 1)
	{
		pow->wattage_calced= pow->wattage;
		pow->wattage = 0;
		is_power_1s = 0;
	}
		  HAL_ADC_Start(&hadc1);
		  HAL_ADC_Start(&hadc2);
		  HAL_ADC_PollForConversion(&hadc1, 2);
		  HAL_ADC_PollForConversion(&hadc2, 2);
		  float volt = (float)HAL_ADC_GetValue(&hadc1) * VOLT_COEF;
		  float current = (float)HAL_ADC_GetValue(&hadc2) * CRNT_COEF;
		  pow->voltage = volt + 0.05; // Offset val added.
		  pow->wattage += pow->voltage * current * (HAL_GetTick() - pow->last_time);
		  pow->last_time = HAL_GetTick();
}

void reset_fligth_datas()
{
	rocket_flight_datas.abs_angle = 0;
	rocket_flight_datas.accel_x = 0;
	rocket_flight_datas.accel_y = 0;
	rocket_flight_datas.accel_z = 0;
	rocket_flight_datas.alt_sea_level = 0;
	rocket_flight_datas.altitude = 0;
	rocket_flight_datas.angle_x = 0;
	rocket_flight_datas.angle_y = 0;
	rocket_flight_datas.angle_z = 0;
	rocket_flight_datas.data_taken_time = 0;
	rocket_flight_datas.velocity = 0;
	rocket_flight_datas.velocity_est = 0;
	rocket_flight_datas.is_new_data = 0;
}

/* USER CODE END 4 */

void Error_Handler(void)
{
  __disable_irq();
  while (1)
  {
  }
}
